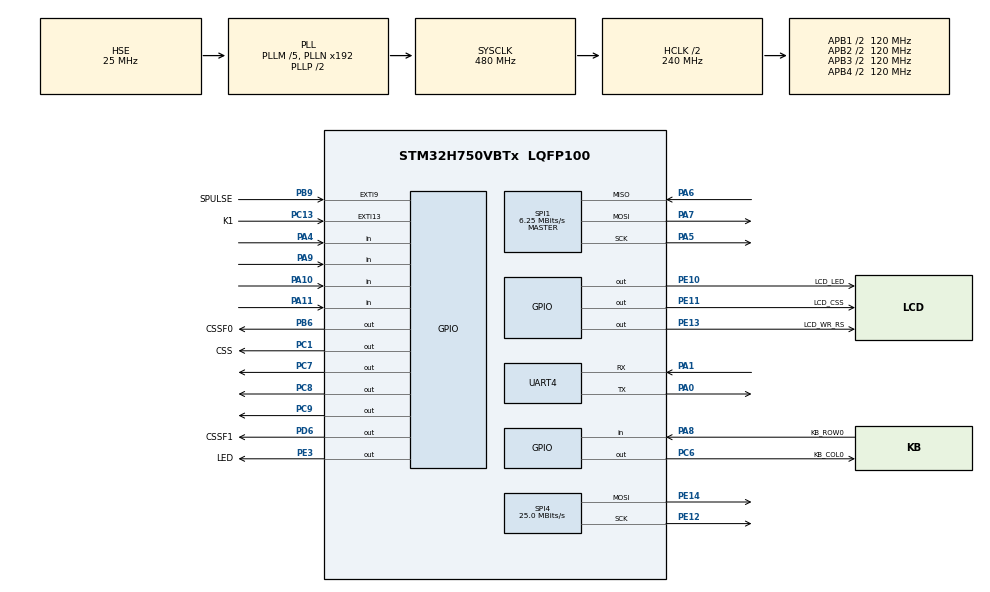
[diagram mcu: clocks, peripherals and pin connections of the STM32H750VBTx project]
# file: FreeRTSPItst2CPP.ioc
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FREERTOS.Tasks01=defaultTask,24,128,StartDefaultTask,Default,NULL,Dynamic,NULL,NULL
FREERTOS.configUSE_NEWLIB_REENTRANT=1
Mcu.Family=STM32H7
Mcu.Name=STM32H750VBTx
Mcu.Package=LQFP100
NVIC.EXTI15_10_IRQn=true\:5\:0\:false\:false\:true\:true\:true\:true\:true
NVIC.EXTI9_5_IRQn=true\:5\:0\:false\:false\:true\:true\:true\:true\:true
NVIC.PriorityGroup=NVIC_PRIORITYGROUP_4
NVIC.SPI1_IRQn=true\:5\:0\:false\:false\:true\:true\:true\:true\:true
NVIC.TIM1_UP_IRQn=true\:15\:0\:false\:false\:true\:false\:false\:true\:true
NVIC.TimeBase=TIM1_UP_IRQn
NVIC.TimeBaseIP=TIM1
PA0.Mode=Asynchronous
PA0.Signal=UART4_TX
PA1.Mode=Asynchronous
PA1.Signal=UART4_RX
PA10.GPIO_PuPd=GPIO_PULLDOWN
PA10.Signal=GPIO_Input
PA11.GPIO_PuPd=GPIO_PULLDOWN
PA11.Signal=GPIO_Input
PA13\ (JTMS/SWDIO).Mode=JTAG_4_pins
PA13\ (JTMS/SWDIO).Signal=DEBUG_JTMS-SWDIO
PA14\ (JTCK/SWCLK).Mode=JTAG_4_pins
PA14\ (JTCK/SWCLK).Signal=DEBUG_JTCK-SWCLK
PA15\ (JTDI).Mode=JTAG_4_pins
PA15\ (JTDI).Signal=DEBUG_JTDI
PA4.Signal=GPIO_Input
PA5.Mode=Full_Duplex_Master
PA5.Signal=SPI1_SCK
PA6.Mode=Full_Duplex_Master
PA6.Signal=SPI1_MISO
PA7.Mode=Full_Duplex_Master
PA7.Signal=SPI1_MOSI
PA8.GPIO_Label=KB_ROW0
PA8.GPIO_PuPd=GPIO_PULLDOWN
PA8.Signal=GPIO_Input
PA9.GPIO_PuPd=GPIO_PULLDOWN
PA9.Signal=GPIO_Input
PB3\ (JTDO/TRACESWO).Mode=JTAG_4_pins
PB3\ (JTDO/TRACESWO).Signal=DEBUG_JTDO-SWO
PB6.GPIO_Label=CSSF0
PB6.PinState=GPIO_PIN_SET
PB6.Signal=GPIO_Output
PB9.GPIO_Label=SPULSE
PB9.Signal=GPXTI9
PC1.GPIO_Label=CSS
PC1.GPIO_PuPd=GPIO_PULLUP
PC1.GPIO_Speed=GPIO_SPEED_FREQ_HIGH
PC1.Signal=GPIO_Output
PC13.GPIO_Label=K1
PC13.GPIO_ModeDefaultEXTI=GPIO_MODE_IT_RISING_FALLING
PC13.GPIO_PuPd=GPIO_PULLDOWN
PC13.Signal=GPXTI13
PC6.GPIO_Label=KB_COL0
PC6.GPIO_Speed=GPIO_SPEED_FREQ_MEDIUM
PC6.Signal=GPIO_Output
PC7.GPIO_Speed=GPIO_SPEED_FREQ_MEDIUM
PC7.Signal=GPIO_Output
PC8.GPIO_Speed=GPIO_SPEED_FREQ_MEDIUM
PC8.Signal=GPIO_Output
PC9.GPIO_Speed=GPIO_SPEED_FREQ_MEDIUM
PC9.Signal=GPIO_Output
PD6.GPIO_Label=CSSF1
PD6.PinState=GPIO_PIN_SET
PD6.Signal=GPIO_Output
PE10.GPIO_Label=LCD_LED
PE10.PinState=GPIO_PIN_SET
PE10.Signal=GPIO_Output
PE11.GPIO_Label=LCD_CSS
PE11.PinState=GPIO_PIN_SET
PE11.Signal=GPIO_Output
PE12.Mode=TX_Only_Simplex_Unidirect_Master
PE12.Signal=SPI4_SCK
PE13.GPIO_Label=LCD_WR_RS
PE13.Signal=GPIO_Output
PE14.Mode=TX_Only_Simplex_Unidirect_Master
PE14.Signal=SPI4_MOSI
PE3.GPIO_Label=LED
PE3.Signal=GPIO_Output
PH0-OSC_IN\ (PH0).Mode=HSE-External-Oscillator
PH0-OSC_IN\ (PH0).Signal=RCC_OSC_IN
PH1-OSC_OUT\ (PH1).Mode=HSE-External-Oscillator
PH1-OSC_OUT\ (PH1).Signal=RCC_OSC_OUT
ProjectManager.HeapSize=0x200
ProjectManager.StackSize=0x400
ProjectManager.TargetToolchain=STM32CubeIDE
RCC.ADCFreq_Value=100000000
RCC.APB1Freq_Value=120000000
RCC.APB2Freq_Value=120000000
RCC.APB3Freq_Value=120000000
RCC.APB4Freq_Value=120000000
RCC.CECCLockSelection=RCC_CECCLKSOURCE_LSI
RCC.CKPERSourceSelection=RCC_CLKPSOURCE_HSI
RCC.CSI_VALUE=4000000
RCC.CortexFreq_Value=480000000
RCC.Cortex_DivARG=SystemCoreClock/1000
RCC.D1PPRE=RCC_APB3_DIV2
RCC.D2PPRE1=RCC_APB1_DIV2
RCC.D2PPRE2=RCC_APB2_DIV2
RCC.D3PPRE=RCC_APB4_DIV2
RCC.DFSDMCLockSelection=RCC_DFSDM1CLKSOURCE_D2PCLK1
RCC.DIVM1=5
RCC.DIVM2=5
RCC.DIVM3=5
RCC.DIVN1=192
RCC.DIVN2=40
RCC.DIVN3=40
RCC.DIVP3=8
RCC.DIVQ3=8
RCC.DSICLockSelection=RCC_DSICLKSOURCE_PHY
RCC.DSIPHY_Div=8
RCC.DSITX_Div=4
RCC.DSI_PHY_VALUE=12288000
RCC.EXTERNAL_CLOCK_VALUE=12288000
RCC.FDCANCLockSelection=RCC_FDCANCLKSOURCE_PLL
RCC.FMCCLockSelection=RCC_FMCCLKSOURCE_D1HCLK
RCC.HCLKFreq_Value=240000000
RCC.HPRE=RCC_HCLK_DIV2
RCC.HSE_VALUE=25000000
RCC.HSI_VALUE=64000000
RCC.I2C123CLockSelection=RCC_I2C123CLKSOURCE_D2PCLK1
RCC.I2C4CLockSelection=RCC_I2C4CLKSOURCE_D3PCLK1
RCC.LPTIM1CLockSelection=RCC_LPTIM1CLKSOURCE_D2PCLK1
RCC.LPTIM2CLockSelection=RCC_LPTIM2CLKSOURCE_D3PCLK1
RCC.LPTIM345CLockSelection=RCC_LPTIM345CLKSOURCE_D3PCLK1
RCC.LPUART1CLockSelection=RCC_LPUART1CLKSOURCE_D3PCLK1
RCC.PLL1_VCI_Range-AdvancedSettings=RCC_PLL1VCIRANGE_0
RCC.PLL2FRACN=0
RCC.PLL2_VCI_Range-AdvancedSettings=RCC_PLL2VCIRANGE_0
RCC.PLL3FRACN=0
RCC.PLL3_VCI_Range-AdvancedSettings=RCC_PLL3VCIRANGE_1
RCC.PLLDSIDev=2
RCC.PLLDSIIDF=DSI_PLL_IN_DIV1
RCC.PLLDSIMult=2
RCC.PLLDSINDIV=20
RCC.PLLDSIODF=DSI_PLL_OUT_DIV1
RCC.PLLFRACN=0
RCC.PLLSourceVirtual=RCC_PLLSOURCE_HSE
RCC.PWR_Regulator_Voltage_Scale=PWR_REGULATOR_VOLTAGE_SCALE1
RCC.QSPICLockSelection=RCC_QSPICLKSOURCE_D1HCLK
RCC.RC48_VALUE=48000000
RCC.RCC_MCO1Source=RCC_MCO1SOURCE_HSI
RCC.RCC_MCO2Source=RCC_MCO2SOURCE_SYSCLK
RCC.RNGCLockSelection=RCC_RNGCLKSOURCE_HSI48
RCC.SAI1CLockSelection=RCC_SAI1CLKSOURCE_PLL
RCC.SAI23CLockSelection=RCC_SAI23CLKSOURCE_PLL
RCC.SAI4ACLockSelection=RCC_SAI4ACLKSOURCE_PLL
RCC.SAI4BCLockSelection=RCC_SAI4BCLKSOURCE_PLL
RCC.SPDIFCLockSelection=RCC_SPDIFRXCLKSOURCE_PLL
RCC.SPI123CLockSelection=RCC_SPI123CLKSOURCE_PLL2
RCC.SPI6CLockSelection=RCC_SPI6CLKSOURCE_D3PCLK1
RCC.SYSCLKFreq_VALUE=480000000
RCC.SYSCLKSource=RCC_SYSCLKSOURCE_PLLCLK
RCC.Spi45ClockSelection=RCC_SPI45CLKSOURCE_PLL2
RCC.SupplySource=PWR_LDO_SUPPLY
RCC.USART16CLockSelection=RCC_USART16CLKSOURCE_PLL2
RCC.USART234578CLockSelection=RCC_USART234578CLKSOURCE_PLL2
RCC.USBCLockSelection=RCC_USBCLKSOURCE_PLL
RCC.USBFreq_Value=480000000
RCC.VDD_VALUE=3.3
SPI1.BaudRatePrescaler=SPI_BAUDRATEPRESCALER_16
SPI1.CalculateBaudRate=6.25 MBits/s
SPI1.DataSize=SPI_DATASIZE_8BIT
SPI1.Direction=SPI_DIRECTION_2LINES
SPI1.FifoThreshold=SPI_FIFO_THRESHOLD_01DATA
SPI1.MasterInterDataIdleness=SPI_MASTER_INTERDATA_IDLENESS_00CYCLE
SPI1.MasterSSIdleness=SPI_MASTER_SS_IDLENESS_00CYCLE
SPI1.Mode=SPI_MODE_MASTER
SPI1.VirtualType=VM_MASTER
SPI4.BaudRatePrescaler=SPI_BAUDRATEPRESCALER_4
SPI4.CalculateBaudRate=25.0 MBits/s
SPI4.DataSize=SPI_DATASIZE_8BIT
SPI4.Direction=SPI_DIRECTION_2LINES_TXONLY
SPI4.Mode=SPI_MODE_MASTER
SPI4.VirtualType=VM_MASTER
VP_FREERTOS_VS_CMSIS_V2.Mode=CMSIS_V2
VP_SYS_VS_tim1.Mode=TIM1
board=custom

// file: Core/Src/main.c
/* USER CODE BEGIN Header */
/**
  ******************************************************************************
  * @file           : main.c
  * @brief          : Main program body
  ******************************************************************************
  * @attention
  *
  * Copyright (c) 2022 STMicroelectronics.
  * All rights reserved.
  *
  * This software is licensed under terms that can be found in the LICENSE file
  * in the root directory of this software component.
  * If no LICENSE file comes with this software, it is provided AS-IS.
  *
  ******************************************************************************
  */
/* USER CODE END Header */
#include "main.h"
#include "cmsis_os.h"
#include "spi.h"
#include "usart.h"
#include "gpio.h"

/* USER CODE BEGIN Includes */
#include "stdio.h"
#include  <errno.h>
#include  <sys/unistd.h>
/* USER CODE END Includes */

void SystemClock_Config(void);
void PeriphCommonClock_Config(void);
void MX_FREERTOS_Init(void);
/* USER CODE BEGIN PFP */
#ifdef __GNUC__
#define PUTCHAR_PROTOTYPE int __io_putchar(int ch)
#else
#define PUTCHAR_PROTOTYPE int fputc(int ch, FILE *f)
#endif
/* USER CODE END PFP */

/* USER CODE BEGIN 0 */

#undef FLASH_LATENCY_0
#define FLASH_LATENCY_0 FLASH_LATENCY_4 //HACK IT!
//Redirect printf to uart
int _write(int file, char *data, int len)
{
   if ((file != STDOUT_FILENO) && (file != STDERR_FILENO))
   {
      errno = EBADF;
      return -1;
   }

   // arbitrary timeout 1000
   HAL_StatusTypeDef status =
   HAL_UART_Transmit(&huart4, (uint8_t*)data, len, 1000);

   // return # of bytes written - as best we can tell
   return (status == HAL_OK ? len : 0);
}

//Redirect printf to uart
int _read(int file, char *data, int len)
{
   if ((file != STDOUT_FILENO) && (file != STDERR_FILENO))
   {
      errno = EBADF;
      return -1;
   }

   // arbitrary timeout 1000
   HAL_StatusTypeDef status =
   HAL_UART_Receive(&huart4, (uint8_t*)data, len, 1000);

   // return # of bytes written - as best we can tell
   return (status == HAL_OK ? len : 0);
}

void TransmitTest(uint8_t* testdata, uint32_t size);

/*
 	SPI1->CR1 |= SPI_CR1_CSTART;

		for(int i=0;i<8;i++)
		{

			// if TxFIFO has enough free location to host 1 data packet
			// --> put data to TXDR
			if(((SPI1->SR) & SPI_SR_TXP) == SPI_SR_TXP){
				*((__IO uint8_t*)&SPI1->TXDR) = datatx[i];

			}
			// wait end of the transmission
			while(((SPI1->SR) & SPI_SR_EOT) != SPI_SR_EOT){};
		}

		// SPI disable (errata)
		SPI1->CR1 |= SPI_CR1_SPE;
 */

void HAL_SPI_TransmitRegister(uint32_t Data, uint32_t Dummy)
{
  // size of transfer (TSIZE)
  SPI1->CR2 = 8;

  // Enable SPI peripheral
  SPI1->CR1 |= 1;

  HAL_GPIO_TogglePin( LED_GPIO_Port, LED_Pin);

  // Master transfer start
  SPI1->CR1 |= SPI_CR1_CSTART;

  // Fill the FIFO
//  while ( ((SPI1->SR) & (SPI_SR_TXP))  == 0 );
  SPI1->TXDR = 0x8181FF81;
  SPI1->TXDR = 0xFF5555FF;
  HAL_GPIO_TogglePin( LED_GPIO_Port, LED_Pin);

//  while ( ((SPI1->SR) & (SPI_FLAG_EOT | SPI_FLAG_RXWNE))  == 0 );
//    while ( ((SPI1->SR) & (SPI_FLAG_EOT | SPI_SR_TXP))  == 0 );

/*  while( SPI1->SR & SPI_SR_TXP ==0);
    SPI1->TXDR = 0x55FFFF55;

  HAL_GPIO_TogglePin( LED_GPIO_Port, LED_Pin);

  //  SPI1->TXDR = Dummy;
   */

  while ( ((SPI1->SR) & SPI_FLAG_EOT)  == 0 );

  HAL_GPIO_TogglePin( LED_GPIO_Port, LED_Pin);

  // clear flags
  SPI1->IFCR = 0xFFFFFFFF;

  // disable SPI
  SPI1->CR1 &= ~1;
}

//SPI_CR1_SPE
/* USER CODE END 0 */

int main(void)
{

  /* MCU Configuration--------------------------------------------------------*/

  /* Reset of all peripherals, Initializes the Flash interface and the Systick. */
  HAL_Init();

  /* USER CODE BEGIN Init */
  HAL_PWREx_ConfigSupply(PWR_LDO_SUPPLY);

  /* The voltage scaling allows optimizing the power consumption when the device is
     clocked below the maximum system frequency, to update the voltage scaling value
     regarding system frequency refer to product datasheet.  */
  __HAL_PWR_VOLTAGESCALING_CONFIG(PWR_REGULATOR_VOLTAGE_SCALE1);

  while(!__HAL_PWR_GET_FLAG(PWR_FLAG_VOSRDY)) {}

  __HAL_RCC_SYSCFG_CLK_ENABLE();
  __HAL_PWR_VOLTAGESCALING_CONFIG(PWR_REGULATOR_VOLTAGE_SCALE0);
  while(!__HAL_PWR_GET_FLAG(PWR_FLAG_VOSRDY)) {}
  /* USER CODE END Init */

  /* Configure the system clock */
  SystemClock_Config();

/* Configure the peripherals common clocks */
  PeriphCommonClock_Config();

  /* Initialize all configured peripherals */
  MX_GPIO_Init();
  MX_SPI4_Init();
  MX_SPI1_Init();
  MX_UART4_Init();
  /* USER CODE BEGIN 2 */
  /*

  char datatx[64]="12341234";
  datatx[0]=0xFF;

  char datarx[64]="RECVRECV";

  printf("damn this is confusing...\n");

  uint32_t dummy=0;

//  for(int i=0;i<4;i++)datatx[i]=0xU;

  while(1)
  {
	  GPIO_PinState pstate=1;
	  while(pstate)
	  {
		  pstate = HAL_GPIO_ReadPin(CSS_GPIO_Port, CSS_Pin);
	  }

	  HAL_GPIO_TogglePin( LED_GPIO_Port, LED_Pin);

	  *((uint32_t*)datatx)= 0x8181FF81;
	  *((uint32_t*)(datatx+4))= 0xFF5555FF;
//	  SPI1->TXDR = 0xFF5555FF;

	  HAL_SPI_TransmitRegister( 0x5555, 0x5FF5  );

	  HAL_GPIO_TogglePin( LED_GPIO_Port, LED_Pin);

	  for(int i=0;i<4000;++i)dummy++;

		// start transmission

//	  uint32_t status = (uint32_t)HAL_SPI_TransmitReceive(&hspi1, (uint8_t*)datatx, (uint8_t*)datarx, 8, 100);

	//  HAL_SPI_Abort(&hspi1);
  }
//	  TransmitTest(data, 8);
*/
  printf( "Hello World\n\r") ;
  /* USER CODE END 2 */

  /* Init scheduler */
  osKernelInitialize();  /* Call init function for freertos objects (in freertos.c) */
  MX_FREERTOS_Init();

  /* Start scheduler */
  osKernelStart();

  /* We should never get here as control is now taken by the scheduler */
  /* Infinite loop */
  while (1)
  {

  }
}

void SystemClock_Config(void)
{
  RCC_OscInitTypeDef RCC_OscInitStruct = {0};
  RCC_ClkInitTypeDef RCC_ClkInitStruct = {0};

  /** Supply configuration update enable
  */
  HAL_PWREx_ConfigSupply(PWR_LDO_SUPPLY);

  /** Configure the main internal regulator output voltage
  */

  while(!__HAL_PWR_GET_FLAG(PWR_FLAG_VOSRDY)) {}

  /** Macro to configure the PLL clock source
  */
  __HAL_RCC_PLL_PLLSOURCE_CONFIG(RCC_PLLSOURCE_HSE);

  /** Initializes the RCC Oscillators according to the specified parameters
  * in the RCC_OscInitTypeDef structure.
  */
  RCC_OscInitStruct.OscillatorType = RCC_OSCILLATORTYPE_HSE;
  RCC_OscInitStruct.HSEState = RCC_HSE_ON;
  RCC_OscInitStruct.PLL.PLLState = RCC_PLL_ON;
  RCC_OscInitStruct.PLL.PLLSource = RCC_PLLSOURCE_HSE;
  RCC_OscInitStruct.PLL.PLLM = 5;
  RCC_OscInitStruct.PLL.PLLN = 192;
  RCC_OscInitStruct.PLL.PLLP = 2;
  RCC_OscInitStruct.PLL.PLLQ = 2;
  RCC_OscInitStruct.PLL.PLLR = 2;
  RCC_OscInitStruct.PLL.PLLRGE = RCC_PLL1VCIRANGE_2;
  RCC_OscInitStruct.PLL.PLLVCOSEL = RCC_PLL1VCOWIDE;
  RCC_OscInitStruct.PLL.PLLFRACN = 0;
  if (HAL_RCC_OscConfig(&RCC_OscInitStruct) != HAL_OK)
  {
    Error_Handler();
  }

  /** Initializes the CPU, AHB and APB buses clocks
  */
  RCC_ClkInitStruct.ClockType = RCC_CLOCKTYPE_HCLK|RCC_CLOCKTYPE_SYSCLK
                              |RCC_CLOCKTYPE_PCLK1|RCC_CLOCKTYPE_PCLK2
                              |RCC_CLOCKTYPE_D3PCLK1|RCC_CLOCKTYPE_D1PCLK1;
  RCC_ClkInitStruct.SYSCLKSource = RCC_SYSCLKSOURCE_PLLCLK;
  RCC_ClkInitStruct.SYSCLKDivider = RCC_SYSCLK_DIV1;
  RCC_ClkInitStruct.AHBCLKDivider = RCC_HCLK_DIV2;
  RCC_ClkInitStruct.APB3CLKDivider = RCC_APB3_DIV2;
  RCC_ClkInitStruct.APB1CLKDivider = RCC_APB1_DIV2;
  RCC_ClkInitStruct.APB2CLKDivider = RCC_APB2_DIV2;
  RCC_ClkInitStruct.APB4CLKDivider = RCC_APB4_DIV2;

  if (HAL_RCC_ClockConfig(&RCC_ClkInitStruct, FLASH_LATENCY_0) != HAL_OK)
  {
    Error_Handler();
  }
}

void PeriphCommonClock_Config(void)
{
  RCC_PeriphCLKInitTypeDef PeriphClkInitStruct = {0};

  /** Initializes the peripherals clock
  */
  PeriphClkInitStruct.PeriphClockSelection = RCC_PERIPHCLK_SPI1|RCC_PERIPHCLK_SPI4
                              |RCC_PERIPHCLK_UART4;
  PeriphClkInitStruct.PLL2.PLL2M = 5;
  PeriphClkInitStruct.PLL2.PLL2N = 40;
  PeriphClkInitStruct.PLL2.PLL2P = 2;
  PeriphClkInitStruct.PLL2.PLL2Q = 2;
  PeriphClkInitStruct.PLL2.PLL2R = 2;
  PeriphClkInitStruct.PLL2.PLL2RGE = RCC_PLL2VCIRANGE_2;
  PeriphClkInitStruct.PLL2.PLL2VCOSEL = RCC_PLL2VCOWIDE;
  PeriphClkInitStruct.PLL2.PLL2FRACN = 0;
  PeriphClkInitStruct.Spi123ClockSelection = RCC_SPI123CLKSOURCE_PLL2;
  PeriphClkInitStruct.Spi45ClockSelection = RCC_SPI45CLKSOURCE_PLL2;
  PeriphClkInitStruct.Usart234578ClockSelection = RCC_USART234578CLKSOURCE_PLL2;
  if (HAL_RCCEx_PeriphCLKConfig(&PeriphClkInitStruct) != HAL_OK)
  {
    Error_Handler();
  }
}

/* USER CODE BEGIN 4 */
PUTCHAR_PROTOTYPE
{
  /* Place your implementation of fputc here */
  /* e.g. write a character to the USART4 and Loop until the end of transmission */
  HAL_UART_Transmit(&huart4, (uint8_t *)&ch, 1, HAL_MAX_DELAY);

  return ch;
}

/* USER CODE END 4 */

void HAL_TIM_PeriodElapsedCallback(TIM_HandleTypeDef *htim)
{
  if (htim->Instance == TIM1) {
    HAL_IncTick();
  }
}

void Error_Handler(void)
{
  __disable_irq();
  while (1)
  {
  }
}

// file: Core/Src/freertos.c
/* USER CODE BEGIN Header */
/* USER CODE END Header */

#include "FreeRTOS.h"
#include "task.h"
#include "main.h"
#include "cmsis_os.h"

/* USER CODE BEGIN Includes */
#include "spi.h"
#include "ST7735.h"
#include "GFX_FUNCTIONS.h"
#include "keyboard.h"
#include "limits.h"
#include "screen.h"
#include "utils.h"
#include "calibration.h"
#include "alt_main.h"
/* USER CODE END Includes */

/* USER CODE BEGIN Variables */
uint8_t b_kernel_up=0;
volatile char aTxBuffer[64]="SENDTHISSENDTHIS";
volatile char aRxBuffer[64]="EMPTEMPTEMPTEMPT";
uint32_t dummy=0;

/* USER CODE END Variables */
/* Definitions for defaultTask */
osThreadId_t defaultTaskHandle;
const osThreadAttr_t defaultTask_attributes = {
  .name = "defaultTask",
  .stack_size = 128 * 4,
  .priority = (osPriority_t) osPriorityNormal,
};

void StartDefaultTask(void *argument);

void MX_FREERTOS_Init(void); /* (MISRA C 2004 rule 8.1) */

void MX_FREERTOS_Init(void) {

  /* Create the thread(s) */
  /* creation of defaultTask */
  defaultTaskHandle = osThreadNew(StartDefaultTask, NULL, &defaultTask_attributes);

  /* USER CODE BEGIN RTOS_THREADS */
	alt_main();
  /* USER CODE END RTOS_THREADS */

}

/* USER CODE BEGIN Header_StartDefaultTask */

volatile uint8_t limit_status=0;
volatile int32_t counter[3]={0,0,0};
volatile int32_t velocity[3]={0,0,0};
volatile uint8_t emagnet=0;
volatile uint8_t b_demo=0;
volatile uint8_t controller_calibration_mode=0;
volatile uint8_t hdr_received;

//			  (*pT5)= (uint32_t)TIM5->CNT;
//			  (*pT2)= (uint32_t)TIM2->CNT;
void TransmitTest(uint8_t* testdata, uint32_t size);
void InitTargetPos();

//uint8_t signal=0;

volatile int16_t vPWMX=0;
volatile int16_t vPWMY=0;
volatile uint8_t vFreqDiv=3;
volatile uint8_t b_startcalib;

ScreenInfo screeninfo = {0};

uint32_t frame=0;
//float total_error_I=0;

//volatile float target[2]={0};
//volatile float target_v[2]={0};

/* USER CODE END Header_StartDefaultTask */
void StartDefaultTask(void *argument)
{
  /* USER CODE BEGIN StartDefaultTask */

	  printf("LCD Init:%i\n",counter[0]);

	  ST7735_Init(1);

	  HAL_GPIO_WritePin(LCD_LED_GPIO_Port, LCD_LED_Pin, GPIO_PIN_RESET);

      ST7735_FillRectangle(0, 0, 162, 82, BLACK);

	  int16_t y=2;
	  while(y>-39)
	  {
		  if(y>0)
		  {
			  ST7735_DrawImage(0,y, 162, 38, logo);
			  ST7735_DrawImage(0,82-y - 38, 162, 38, logo);

			  ST7735_DrawImage(0,82-y-39, 162, 1, logo + 162*37); //black line
		  }
		  else
		  {
			  ST7735_DrawImage(0,0, 162, 38+y, logo - 162*y);

			  if(y==-10)
			  {
				  ST7735_WriteString(0,40-18/2, "Palans --> SP", Font_11x18, WHITE, BLACK);
			  }

			  ST7735_DrawImage(0,82-y-38, 162, 38+y, logo);
			  ST7735_DrawImage(0,82-y-39, 162, 1, logo + 162*37); //black line
		  }
		  if(y==2)osDelay(500);
		  osDelay(20);
		  y--;
	  }

      uint8_t last_b_changed=0;

	  uint32_t cnt=0;
	  for(;;)
	  {
		    SystemCoreClockUpdate();

			scanKeyboard();

			if(!b_demo)
			{
				vPWMX=0;
				vPWMY=0;
				if(keyPressed('6'))
				{
					vPWMX=12000;
				}
				if(keyPressed('4'))
				{
					vPWMX=-12000;
				}
				if(keyPressed('2'))
				{
					vPWMY=5000;
				}
				if(keyPressed('8'))
				{
					vPWMY=-5000;
				}
			}

			if(keyClicked('#'))
			{
				screeninfo.page = (screeninfo.page+1)%2;
			}

			if(screeninfo.page==0)
			{
				if(keyClicked('A')){emagnet=100;}
				if(keyClicked('B')){emagnet=0;}
			}
			else
			{

/*				if(keyClicked('A'))
				{
					vFreqDiv=4;
				}
				if(keyClicked('B'))
				{
					vFreqDiv=5;
				}
				if(keyClicked('C'))
				{
					vFreqDiv=10;
				}
				if(keyClicked('D'))
				{
					vFreqDiv=20;
				}*/
			}

			if(keyClicked('D'))
			{
				b_demo = (b_demo+1)%2;
				if(b_demo)
				{
//					startCalibration();
					startDemo();
//					InitTargetPos();
				}
				else
				{
					stopDemo();
					vPWMX=0;
					vPWMY=0;
				}
			}

			if(keyClicked('*'))
			{
				b_startcalib=1;
			}

			for(int i=0;i<3;++i)
			{
				screeninfo.counter[i] = counter[i];
				screeninfo.velocity[i] = velocity[i];
			}
			screeninfo.header_char = hdr_received;
			screeninfo.freq_update = 20000/vFreqDiv;
			screeninfo.emagnet = emagnet;
			screeninfo.limit_status = limit_status;
			screeninfo.pwm[0]=vPWMX;
			screeninfo.pwm[1]=vPWMY;
		//	screeninfo.target[0]=target[0];
		//	screeninfo.target[1]=target[1];
			screeninfo.b_controlloop = isCalibratingMode(controller_calibration_mode);
			{
				screeninfo.target[0]= ((float)screeninfo.counter[0])*PPR_TO_DISTANCE_X;
				screeninfo.target[1]= ((float)screeninfo.counter[1])*PPR_TO_DISTANCE_Y;
			}
			screeninfo.calibration_mode = controller_calibration_mode;// getCalibrationMode();

			if(b_demo)
			{
				screeninfo.calibration_mode= getCalibrationMode();
			}

//			for(int i=0;i<2;++i)
//			{
//				screeninfo.target[i]=target[i];
//			}

			updateScreen(&screeninfo);

//			HAL_Delay(10);
//		    osDelay(5);
//			for(uint32_t i=0;i<4000;i++)dummy+=i;
		//  osDelay(1);
	  }
  /* USER CODE END StartDefaultTask */
}

/* USER CODE BEGIN Application */
/*

float getDt()
{
	return 1.f/ ( (float)( 20000/vFreqDiv));
}

uint32_t getCyclesPerSecond()
{
	return 20000/vFreqDiv;
}

void InitTargetPos()
{
	frame=0;
	target[0]=0;
	target_v[0]=1.;
}

void ComputeTargetPos(uint32_t frame)
{
	if(frame%10000<5000)
	{
		target[0]=1;
		target[1]=0;
	}
	else
	{
		target[0]=-1;
		target[1]=0;
	}

	float dt = getDt();

	target[0]+=target_v[0]*dt;

	if(target[0]>2.5f)target_v[0]*=-1.f;
	if(target[0]<-2.5f)target_v[0]*=-1.f;

}

#define PPM_X 4000.f

void UpdateControlLoop()
{
	if(!b_demo)return;

	frame++;

	ComputeTargetPos(frame);

	float dt = getDt();

	float v_x = ( (float)velocity[0] )/ (dt* PPM_X);
	float p_x =  ((float)counter[0]) / PPM_X;

	float target_p_x = target[0];
	float target_v_x = target_v[0];

	float error_P = target_p_x - p_x;
	float error_D = target_v_x - v_x;
	total_error_I += error_P*dt;

#define K_P 10.f
#define K_I 3.f
#define K_D .5f

	float pwm_output = error_P*(K_P)+ error_D*(K_D);

	int32_t vPWMX_out = (int32_t)(pwm_output*12000);

	if(vPWMX_out>10000)vPWMX_out=10000;
	if(vPWMX_out<-10000)vPWMX_out=-10000;

	vPWMX = vPWMX_out;
}*/

uint8_t cnt2=0;

/*
void SPI1_Transfer(uint8_t *outp, uint8_t *inp, int count) {
    while(count--) {
        while(!(SPI1->SR & SPI_SR_TXE))
            ;
        *(volatile uint8_t *)&SPI1->DR = *outp++;
        while(!(SPI1->SR & SPI_SR_RXNE))
            ;
        *inp++ = *(volatile uint8_t *)&SPI1->DR;
    }
}*/

/*
void SPI_Transmit(uint8_t *data, int size)
{

	/************** STEPS TO FOLLOW *****************
	1. Wait for the TXE bit to set in the Status Register
	2. Write the data to the Data Register
	3. After the data has been transmitted, wait for the BSY bit to reset in Status Register
	4. Clear the Overrun flag by reading DR and SR
	************************************************/
/*
	int i=0;
	while (i<size)
	{
	   while (!((SPI1->SR)&(1<<1))) {};  // wait for TXE bit to set -> This will indicate that the buffer is empty
	   SPI1->DR = data[i];  // load the data into the Data Register
	   i++;
	}

/*During discontinuous communications, there is a 2 APB clock period delay between the
write operation to the SPI_DR register and BSY bit setting. As a consequence it is
mandatory to wait first until TXE is set and then until BSY is cleared after writing the last
data.
*//*
	while (!((SPI1->SR)&(1<<1))) {};  // wait for TXE bit to set -> This will indicate that the buffer is empty
	while (((SPI1->SR)&(1<<7))) {};  // wait for BSY bit to Reset -> This will indicate that SPI is not busy in communication

	//  Clear the Overrun flag by reading DR and SR
	uint8_t temp = SPI1->DR;
					temp = SPI1->SR;

}*/

void TransmitTest(uint8_t* testdata, uint32_t size)
{
	// data to be transmitted
//	uint8_t testdata = 'U';

	// This value will point limit to HW's counter
	SPI1->CR2 |= (SPI_CR2_TSIZE & size);

	// SPI enable
	SPI1->CR1 |= SPI_CR1_SPE;

	/*

				If global SPI interrupt needed
				- Enable it here, after SPI enable (errata)
				  and before CSTART

	*/

	// start transmission
	SPI1->CR1 |= SPI_CR1_CSTART;

	for(int a=0;a<size;++a)
	{

		// if TxFIFO has enough free location to host 1 data packet
		// --> put data to TXDR
		if(((SPI1->SR) & SPI_SR_TXP) == SPI_SR_TXP){
			*((__IO uint8_t*)&SPI1->TXDR) = testdata[a];

		}
	}

	// wait end of the transmission
	while(((SPI1->SR) & SPI_SR_EOT) != SPI_SR_EOT){};

	// SPI disable (errata)
	SPI1->CR1 |= SPI_CR1_SPE;
}

#pragma GCC optimize ("O0")

void SlowThisDown()
{
	for(uint32_t i=0;i<2;i++)dummy+=dummy+1;
}
#pragma GCC pop_options

void SPITransmitReceive()
{
	HAL_GPIO_WritePin(CSS_GPIO_Port, CSS_Pin, GPIO_PIN_RESET);

	SlowThisDown();

	uint8_t* pHDR=(uint8_t*)(aTxBuffer);
	uint8_t* pCMD=(uint8_t*)(aTxBuffer+1);
	uint8_t* pEMG=(uint8_t*)(aTxBuffer+2);
	uint16_t* pPWMX=(uint16_t*)(aTxBuffer+12);
	uint16_t* pPWMY=(uint16_t*)(aTxBuffer+14); //Write these last! So we can compute them in the middle of the message!

	uint8_t vCMD=1;
	if(b_startcalib)
	{
		vCMD=2;
		b_startcalib=0;
	}
	*pHDR='C';
	*pCMD=vCMD;
	*pEMG=emagnet;

	HAL_StatusTypeDef state = HAL_SPI_TransmitReceive(&hspi1, (uint8_t*)aTxBuffer, (uint8_t*)aRxBuffer, 8, 100);

	{ //Update counter x and y.
		int32_t* pT5 = (int32_t*)(aRxBuffer);
		int32_t* pT2 = (int32_t*)(aRxBuffer+4);

		uint32_t old_counter[2];
		for(int i=0;i<2;++i)old_counter[i]=counter[i];

		counter[0]=*pT5;
		counter[1]=*pT2;

		for(int i=0;i<2;++i)velocity[i] = counter[i]-old_counter[i];
	}

	if(b_demo)
	{
		int32_t rPWM[2];
		updateCalibration(counter, velocity, limit_status, &rPWM);

		vPWMX = rPWM[0];
		vPWMY = rPWM[1];
	}
	*pPWMX=vPWMX;
	*pPWMY=vPWMY;

	state = HAL_SPI_TransmitReceive(&hspi1, (uint8_t*)(aTxBuffer+8), (uint8_t*)(aRxBuffer+8), 8, 100);
	HAL_GPIO_WritePin(CSS_GPIO_Port, CSS_Pin, GPIO_PIN_SET);

	int16_t* pT3 = (int16_t*)(aRxBuffer+8);
    pHDR = (uint8_t*)(aRxBuffer+10);
	uint8_t* plimit = (uint8_t*)(aRxBuffer+11);
	uint8_t* pcalibrationmode = (uint8_t*)(aRxBuffer+12);
	uint8_t* pvFreqDiv = (uint8_t*)(aRxBuffer+13);

	hdr_received = *pHDR;

	if(*pHDR=='C')
	{
		uint32_t old_counter[3];
		for(int i=2;i<3;++i)old_counter[i]=counter[i];

//		counter[0]=*pT5; //0 and 1 are being updated before the transmission of the second group of 8 characters.
//		counter[1]=*pT2; // so only update the angle Theta counter. (Which will be one frame late to the control loop, but this is not critical.
		counter[2]=*pT3;

		for(int i=2;i<3;++i)velocity[i]=counter[i]-old_counter[i];

		limit_status=*plimit;
		controller_calibration_mode = *pcalibrationmode;
		vFreqDiv = *pvFreqDiv;

		if(vFreqDiv==0)vFreqDiv=1;
	}

}

void HAL_GPIO_EXTI_Callback(uint16_t GPIO_Pin)
{
	if(GPIO_Pin == SPULSE_Pin)
	{
		SPITransmitReceive();
	}

/*	if(GPIO_Pin == CSS_Pin)
	{

	}*/
}

float getDt()
{
	return 1.f/ ( (float)( 20000/vFreqDiv));
}

float getOneOverDt()
{
	return ( (float)( 20000/vFreqDiv));
}

//Can't do that from here! For compatibility with calibration.c
void resetCounter()
{
}

//same
void setCounter(uint8_t id_tim, int32_t value)
{
}

/* USER CODE END Application */
